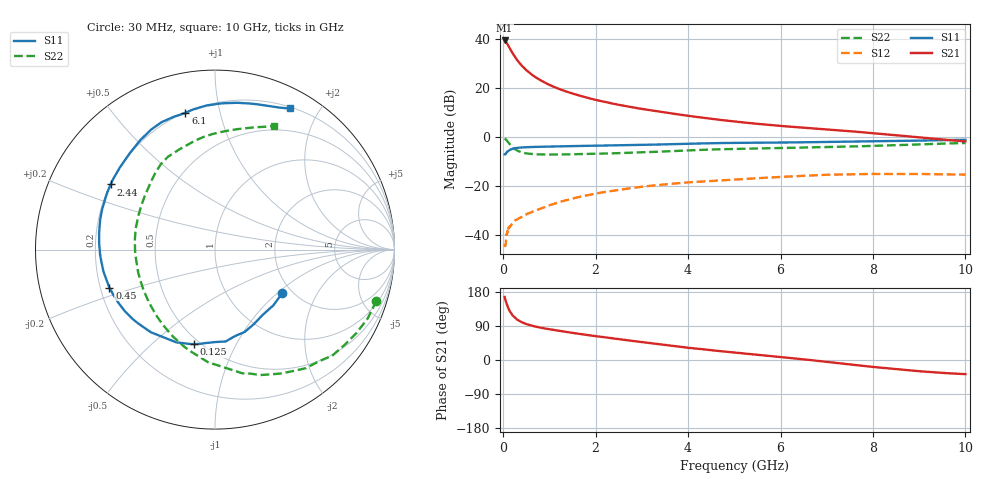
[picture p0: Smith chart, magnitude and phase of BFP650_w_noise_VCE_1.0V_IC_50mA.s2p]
! Infineon Technologies  Discrete & RF Semiconductors
! BFP650
! VCE =  1.0 V,  IC =  50 mA
! Common Emitter S-Parameters:  Jan 2016
# GHz  S  MA  R  50
!  f  S11  S21  S12  S22
! GHz  MAG  ANG  MAG  ANG  MAG  ANG  MAG  ANG
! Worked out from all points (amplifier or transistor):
!   229 points, 30 MHz to 10 GHz, reference 50 ohm
!   highest |S21| = 39.5 dB at 30 MHz (marker M1)
!   |S21| within 3 dB of that: start of sweep to 135.7 MHz
!   unconditionally stable (mu >= 1): 1.843 GHz to end of sweep
!   at 280 MHz: K = 0.48, MSG = 32.9 dB, |S12| = -33.7 dB
!   at 1.78 GHz: K = 0.99, MSG = 20.1 dB, |S12| = -23.8 dB
!   at 10 GHz: K = 1.04, MAG = 5.6 dB, |S12| = -15.2 dB
!   lowest NFmin = 0.97 dB at 450 MHz
!   S11 on the Smith chart (normalised r, x): 30 MHz: 1.79, -1.08; 125 MHz: 0.47, -0.69; 450 MHz: 0.24, -0.16; 2.44 GHz: 0.20, +0.28; 6.1 GHz: 0.20, +0.79; 10 GHz: 0.22, +1.64
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0.03  0.4464 -32.6  94.4 166.4  0.0066 79.9  0.9436 -17.6
0.04  0.4496 -43.6  93.37 161.7  0.006 80.8  0.9331 -24.3
0.05  0.4505 -53.8  90.44 157.2  0.0063 70.3  0.915 -30.6
0.06  0.4685 -62.6  88.91 153.6  0.0076 65.3  0.8956 -36.5
0.08  0.4952 -77.3  83.19 146.0  0.0102 59.0  0.8498 -47.1
0.1  0.5147 -89.3  77.29 139.6  0.0111 56.9  0.8086 -56.5
0.125  0.5386 -102.4  69.64 132.7  0.014 54.8  0.7513 -68.1
0.15  0.5597 -112.5  63.16 127.1  0.015 51.3  0.7062 -77.5
0.2  0.5827 -127.7  52.29 118.0  0.0177 49.2  0.6287 -93.5
0.26  0.5995 -139.6  42.7 110.7  0.0203 49.5  0.5667 -107.8
0.34  0.6133 -150.4  33.72 103.8  0.0223 48.7  0.5168 -122.1
0.45  0.6254 -160.2  25.91 97.1  0.025 49.8  0.4796 -136.7
0.6  0.6334 -169.0  19.53 91.1  0.0294 50.5  0.4578 -150.4
0.9  0.643 179.8  13 83.2  0.0375 52.3  0.4439 -167.6
1.7  0.6665 161.3  6.856 68.1  0.062 50.3  0.4538 167.9
2.44  0.6854 148.0  4.714 56.0  0.0831 44.0  0.4724 152.4
3.4  0.7127 132.9  3.307 41.4  0.1071 33.8  0.5092 136.5
5.1  0.7704 111.7  2.05 18.5  0.1393 17.0  0.5814 115.7
6.1  0.7801 102.2  1.675 6.7  0.1566 7.6  0.6058 103.9
6.8  0.7977 95.6  1.497 -2.1  0.1684 0.1  0.6262 97.2
8.4  0.8376 76.2  1.121 -23.0  0.1787 -17.7  0.6841 79.1
10  0.8896 62.1  0.824 -37.3  0.1729 -29.9  0.7635 64.6
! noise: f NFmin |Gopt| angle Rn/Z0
0.45  0.97  0.2  -177  0.49
0.9  0.99  0.42  -167  0.06
1.9  1.12  0.45  -153  0.06
2.4  1.2  0.43  -143  0.08
3.5  1.43  0.46  -120  0.13
